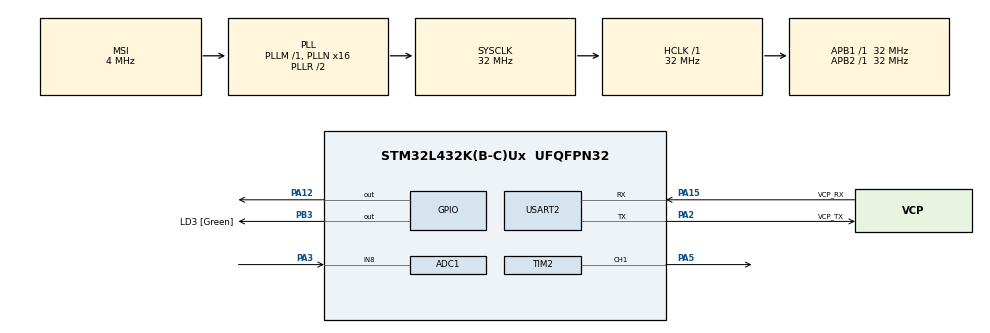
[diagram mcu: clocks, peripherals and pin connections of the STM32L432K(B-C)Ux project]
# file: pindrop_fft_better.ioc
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ADC1.Channel-0\#ChannelRegularConversion=ADC_CHANNEL_8
ADC1.ContinuousConvMode=DISABLE
ADC1.DMAContinuousRequests=ENABLE
ADC1.ExternalTrigConv=ADC_EXTERNALTRIG_T2_TRGO
ADC1.NbrOfConversionFlag=1
ADC1.OffsetNumber-0\#ChannelRegularConversion=ADC_OFFSET_NONE
ADC1.Rank-0\#ChannelRegularConversion=1
ADC1.SamplingTime-0\#ChannelRegularConversion=ADC_SAMPLETIME_2CYCLES_5
ADC1.master=1
Dma.ADC1.0.Direction=DMA_PERIPH_TO_MEMORY
Dma.ADC1.0.Instance=DMA1_Channel1
Dma.ADC1.0.MemDataAlignment=DMA_MDATAALIGN_HALFWORD
Dma.ADC1.0.MemInc=DMA_MINC_ENABLE
Dma.ADC1.0.Mode=DMA_CIRCULAR
Dma.ADC1.0.PeriphDataAlignment=DMA_PDATAALIGN_HALFWORD
Dma.ADC1.0.PeriphInc=DMA_PINC_DISABLE
Dma.ADC1.0.Priority=DMA_PRIORITY_LOW
Dma.Request0=ADC1
Dma.Request1=USART2_TX
Dma.USART2_TX.1.Direction=DMA_MEMORY_TO_PERIPH
Dma.USART2_TX.1.Instance=DMA1_Channel7
Dma.USART2_TX.1.MemDataAlignment=DMA_MDATAALIGN_BYTE
Dma.USART2_TX.1.MemInc=DMA_MINC_ENABLE
Dma.USART2_TX.1.Mode=DMA_NORMAL
Dma.USART2_TX.1.PeriphDataAlignment=DMA_PDATAALIGN_BYTE
Dma.USART2_TX.1.PeriphInc=DMA_PINC_DISABLE
Dma.USART2_TX.1.Priority=DMA_PRIORITY_LOW
Mcu.Family=STM32L4
Mcu.Name=STM32L432K(B-C)Ux
Mcu.Package=UFQFPN32
NVIC.DMA1_Channel1_IRQn=true\:0\:0\:false\:false\:true\:false\:true\:true
NVIC.DMA1_Channel7_IRQn=true\:0\:0\:false\:false\:true\:false\:true\:true
NVIC.PriorityGroup=NVIC_PRIORITYGROUP_4
NVIC.TIM1_UP_TIM16_IRQn=true\:0\:0\:false\:false\:true\:true\:true\:true
PA0.GPIO_Label=MCO [High speed clock in]
PA0.Mode=HSE-External-Clock-Source-for-LittleOrca
PA0.Signal=RCC_CK_IN
PA12.Signal=GPIO_Output
PA13\ (JTMS-SWDIO).GPIO_Label=SWDIO
PA13\ (JTMS-SWDIO).Mode=Serial_Wire
PA13\ (JTMS-SWDIO).Signal=SYS_JTMS-SWDIO
PA14\ (JTCK-SWCLK).GPIO_Label=SWCLK
PA14\ (JTCK-SWCLK).Mode=Serial_Wire
PA14\ (JTCK-SWCLK).Signal=SYS_JTCK-SWCLK
PA15\ (JTDI).GPIO_Label=VCP_RX
PA15\ (JTDI).Mode=Asynchronous
PA15\ (JTDI).Signal=USART2_RX
PA2.GPIO_Label=VCP_TX
PA2.Mode=Asynchronous
PA2.Signal=USART2_TX
PA3.Signal=ADCx_IN8
PA5.Signal=S_TIM2_CH1
PB3\ (JTDO-TRACESWO).GPIO_Label=LD3 [Green]
PB3\ (JTDO-TRACESWO).Signal=GPIO_Output
PC14-OSC32_IN\ (PC14).Mode=LSE-External-Oscillator
PC14-OSC32_IN\ (PC14).Signal=RCC_OSC32_IN
PC15-OSC32_OUT\ (PC15).Mode=LSE-External-Oscillator
PC15-OSC32_OUT\ (PC15).Signal=RCC_OSC32_OUT
ProjectManager.HeapSize=0x200
ProjectManager.StackSize=0x400
ProjectManager.TargetToolchain=STM32CubeIDE
RCC.ADCFreq_Value=32000000
RCC.AHBFreq_Value=32000000
RCC.APB1Freq_Value=32000000
RCC.APB1TimFreq_Value=32000000
RCC.APB2Freq_Value=32000000
RCC.APB2TimFreq_Value=32000000
RCC.CortexFreq_Value=32000000
RCC.HCLKFreq_Value=32000000
RCC.HSE_VALUE=8000000
RCC.HSI16_VALUE=16000000
RCC.HSI48_VALUE=48000000
RCC.HSI_VALUE=16000000
RCC.MSI_VALUE=4000000
RCC.PLLMUL=RCC_PLLMUL_4
RCC.PLLN=16
RCC.PLLSAI1N=16
RCC.SYSCLKFreq_VALUE=32000000
RCC.SYSCLKSource=RCC_SYSCLKSOURCE_PLLCLK
RCC.USBFreq_Value=32000000
RCC.VCOOutputFreq_Value=64000000
SH.ADCx_IN8.0=ADC1_IN8,IN8-Single-Ended
SH.S_TIM2_CH1.0=TIM2_CH1,Output Compare1 CH1
TIM1.Period=1000-1
TIM1.Prescaler=32000-1
TIM2.AutoReloadPreload=TIM_AUTORELOAD_PRELOAD_ENABLE
TIM2.Channel-Output\ Compare1\ CH1=TIM_CHANNEL_1
TIM2.OCMode_1=TIM_OCMODE_TOGGLE
TIM2.Period=400-1
TIM2.Prescaler=0
TIM2.TIM_MasterOutputTrigger=TIM_TRGO_UPDATE
TIM2.TIM_MasterSlaveMode=TIM_MASTERSLAVEMODE_ENABLE
USART2.VirtualMode-Asynchronous=VM_ASYNC
VP_TIM1_VS_ClockSourceINT.Mode=Internal
VP_TIM2_VS_ClockSourceINT.Mode=Internal
board=NUCLEO-L432KC

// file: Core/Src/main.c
/* USER CODE BEGIN Header */
/**
  ******************************************************************************
  * @file           : main.c
  * @brief          : Main program body
  ******************************************************************************
  * @attention
  *
  * Copyright (c) 2025 STMicroelectronics.
  * All rights reserved.
  *
  * This software is licensed under terms that can be found in the LICENSE file
  * in the root directory of this software component.
  * If no LICENSE file comes with this software, it is provided AS-IS.
  *
  ******************************************************************************
  */
/* USER CODE END Header */
#include "main.h"

/* USER CODE BEGIN Includes */
#include "arm_math.h"
#include "arm_const_structs.h"
//#include <stdio.h>
/* USER CODE END Includes */

/* USER CODE BEGIN PD */
/* Defines */
#define FFT_SIZE 1024
#define SAMPLE_RATE 80000
#define AUDIO_BUFFER_SIZE (FFT_SIZE*2)
#define CHANGE_THRESHOLD 1.7
#define TRANS_WINDOWS 6
//#define CHANGE_THRESHOLD 1.3
/* USER CODE END PD */

ADC_HandleTypeDef hadc1;
DMA_HandleTypeDef hdma_adc1;

TIM_HandleTypeDef htim1;
TIM_HandleTypeDef htim2;

UART_HandleTypeDef huart2;
DMA_HandleTypeDef hdma_usart2_tx;

/* USER CODE BEGIN PV */
volatile uint16_t adc_buffer[AUDIO_BUFFER_SIZE];
volatile int buffer_ready = 0;
int transmit_signal = 0;
uint32_t adc_index = 0;

float32_t fft_input[FFT_SIZE];
float32_t fft_output[FFT_SIZE];

float32_t fft_mag_A[FFT_SIZE/2];
float32_t fft_mag_B[FFT_SIZE/2];
float32_t* fft_mag = fft_mag_A;
float32_t* fft_mag_prev = fft_mag_B;

uint32_t trans_arr[FFT_SIZE*TRANS_WINDOWS];

arm_rfft_fast_instance_f32 fft_instance;
/* USER CODE END PV */

void SystemClock_Config(void);
static void MX_GPIO_Init(void);
static void MX_DMA_Init(void);
static void MX_USART2_UART_Init(void);
static void MX_ADC1_Init(void);
static void MX_TIM2_Init(void);
static void MX_TIM1_Init(void);
/* USER CODE BEGIN PFP */
void HAL_ADC_ConvCpltCallback(ADC_HandleTypeDef* hadc);
void HAL_ADC_ConvHalfCpltCallback(ADC_HandleTypeDef* hadc);
void process_fft(int);
void transmit_adc_data(void);
/* USER CODE END PFP */

int main(void)
{

  /* MCU Configuration--------------------------------------------------------*/

  /* Reset of all peripherals, Initializes the Flash interface and the Systick. */
  HAL_Init();

  /* Configure the system clock */
  SystemClock_Config();

  /* Initialize all configured peripherals */
  MX_GPIO_Init();
  MX_DMA_Init();
  MX_USART2_UART_Init();
  MX_ADC1_Init();
  MX_TIM2_Init();
  MX_TIM1_Init();
  /* USER CODE BEGIN 2 */
  // Initialize FFT
  arm_rfft_fast_init_f32(&fft_instance, FFT_SIZE);

  // Start ADC with DMA
  HAL_ADC_Start_DMA(&hadc1, (uint32_t*)adc_buffer, AUDIO_BUFFER_SIZE);

  // Start timer for sampling rate and fft timer
  HAL_TIM_Base_Start(&htim1);
  HAL_TIM_Base_Start(&htim2);
  /* USER CODE END 2 */

  /* Infinite loop */
  /* USER CODE BEGIN WHILE */
  while (1)
  {
	  if (buffer_ready) {
	        process_fft(buffer_ready);
	        buffer_ready = 0;
	        //adc_index = 0;
	    }
    /* USER CODE END WHILE */

  }
}

void SystemClock_Config(void)
{
  RCC_OscInitTypeDef RCC_OscInitStruct = {0};
  RCC_ClkInitTypeDef RCC_ClkInitStruct = {0};

  /** Configure the main internal regulator output voltage
  */
  if (HAL_PWREx_ControlVoltageScaling(PWR_REGULATOR_VOLTAGE_SCALE1) != HAL_OK)
  {
    Error_Handler();
  }

  /** Configure LSE Drive Capability
  */
  HAL_PWR_EnableBkUpAccess();
  __HAL_RCC_LSEDRIVE_CONFIG(RCC_LSEDRIVE_LOW);

  /** Initializes the RCC Oscillators according to the specified parameters
  * in the RCC_OscInitTypeDef structure.
  */
  RCC_OscInitStruct.OscillatorType = RCC_OSCILLATORTYPE_LSE|RCC_OSCILLATORTYPE_MSI;
  RCC_OscInitStruct.LSEState = RCC_LSE_ON;
  RCC_OscInitStruct.MSIState = RCC_MSI_ON;
  RCC_OscInitStruct.MSICalibrationValue = 0;
  RCC_OscInitStruct.MSIClockRange = RCC_MSIRANGE_6;
  RCC_OscInitStruct.PLL.PLLState = RCC_PLL_ON;
  RCC_OscInitStruct.PLL.PLLSource = RCC_PLLSOURCE_MSI;
  RCC_OscInitStruct.PLL.PLLM = 1;
  RCC_OscInitStruct.PLL.PLLN = 16;
  RCC_OscInitStruct.PLL.PLLP = RCC_PLLP_DIV7;
  RCC_OscInitStruct.PLL.PLLQ = RCC_PLLQ_DIV2;
  RCC_OscInitStruct.PLL.PLLR = RCC_PLLR_DIV2;
  if (HAL_RCC_OscConfig(&RCC_OscInitStruct) != HAL_OK)
  {
    Error_Handler();
  }

  /** Initializes the CPU, AHB and APB buses clocks
  */
  RCC_ClkInitStruct.ClockType = RCC_CLOCKTYPE_HCLK|RCC_CLOCKTYPE_SYSCLK
                              |RCC_CLOCKTYPE_PCLK1|RCC_CLOCKTYPE_PCLK2;
  RCC_ClkInitStruct.SYSCLKSource = RCC_SYSCLKSOURCE_PLLCLK;
  RCC_ClkInitStruct.AHBCLKDivider = RCC_SYSCLK_DIV1;
  RCC_ClkInitStruct.APB1CLKDivider = RCC_HCLK_DIV1;
  RCC_ClkInitStruct.APB2CLKDivider = RCC_HCLK_DIV1;

  if (HAL_RCC_ClockConfig(&RCC_ClkInitStruct, FLASH_LATENCY_1) != HAL_OK)
  {
    Error_Handler();
  }

  /** Enable MSI Auto calibration
  */
  HAL_RCCEx_EnableMSIPLLMode();
}

static void MX_ADC1_Init(void)
{

  ADC_ChannelConfTypeDef sConfig = {0};

  /** Common config
  */
  hadc1.Instance = ADC1;
  hadc1.Init.ClockPrescaler = ADC_CLOCK_ASYNC_DIV1;
  hadc1.Init.Resolution = ADC_RESOLUTION_12B;
  hadc1.Init.DataAlign = ADC_DATAALIGN_RIGHT;
  hadc1.Init.ScanConvMode = ADC_SCAN_DISABLE;
  hadc1.Init.EOCSelection = ADC_EOC_SINGLE_CONV;
  hadc1.Init.LowPowerAutoWait = DISABLE;
  hadc1.Init.ContinuousConvMode = DISABLE;
  hadc1.Init.NbrOfConversion = 1;
  hadc1.Init.DiscontinuousConvMode = DISABLE;
  hadc1.Init.ExternalTrigConv = ADC_EXTERNALTRIG_T2_TRGO;
  hadc1.Init.ExternalTrigConvEdge = ADC_EXTERNALTRIGCONVEDGE_RISING;
  hadc1.Init.DMAContinuousRequests = ENABLE;
  hadc1.Init.Overrun = ADC_OVR_DATA_PRESERVED;
  hadc1.Init.OversamplingMode = DISABLE;
  if (HAL_ADC_Init(&hadc1) != HAL_OK)
  {
    Error_Handler();
  }

  /** Configure Regular Channel
  */
  sConfig.Channel = ADC_CHANNEL_8;
  sConfig.Rank = ADC_REGULAR_RANK_1;
  sConfig.SamplingTime = ADC_SAMPLETIME_2CYCLES_5;
  sConfig.SingleDiff = ADC_SINGLE_ENDED;
  sConfig.OffsetNumber = ADC_OFFSET_NONE;
  sConfig.Offset = 0;
  if (HAL_ADC_ConfigChannel(&hadc1, &sConfig) != HAL_OK)
  {
    Error_Handler();
  }

}

static void MX_TIM1_Init(void)
{

  TIM_ClockConfigTypeDef sClockSourceConfig = {0};
  TIM_MasterConfigTypeDef sMasterConfig = {0};

  htim1.Instance = TIM1;
  htim1.Init.Prescaler = 32000-1;
  htim1.Init.CounterMode = TIM_COUNTERMODE_UP;
  htim1.Init.Period = 1000-1;
  htim1.Init.ClockDivision = TIM_CLOCKDIVISION_DIV1;
  htim1.Init.RepetitionCounter = 0;
  htim1.Init.AutoReloadPreload = TIM_AUTORELOAD_PRELOAD_DISABLE;
  if (HAL_TIM_Base_Init(&htim1) != HAL_OK)
  {
    Error_Handler();
  }
  sClockSourceConfig.ClockSource = TIM_CLOCKSOURCE_INTERNAL;
  if (HAL_TIM_ConfigClockSource(&htim1, &sClockSourceConfig) != HAL_OK)
  {
    Error_Handler();
  }
  sMasterConfig.MasterOutputTrigger = TIM_TRGO_RESET;
  sMasterConfig.MasterOutputTrigger2 = TIM_TRGO2_RESET;
  sMasterConfig.MasterSlaveMode = TIM_MASTERSLAVEMODE_DISABLE;
  if (HAL_TIMEx_MasterConfigSynchronization(&htim1, &sMasterConfig) != HAL_OK)
  {
    Error_Handler();
  }

}

static void MX_TIM2_Init(void)
{

  TIM_ClockConfigTypeDef sClockSourceConfig = {0};
  TIM_MasterConfigTypeDef sMasterConfig = {0};
  TIM_OC_InitTypeDef sConfigOC = {0};

  htim2.Instance = TIM2;
  htim2.Init.Prescaler = 0;
  htim2.Init.CounterMode = TIM_COUNTERMODE_UP;
  htim2.Init.Period = 400-1;
  htim2.Init.ClockDivision = TIM_CLOCKDIVISION_DIV1;
  htim2.Init.AutoReloadPreload = TIM_AUTORELOAD_PRELOAD_ENABLE;
  if (HAL_TIM_Base_Init(&htim2) != HAL_OK)
  {
    Error_Handler();
  }
  sClockSourceConfig.ClockSource = TIM_CLOCKSOURCE_INTERNAL;
  if (HAL_TIM_ConfigClockSource(&htim2, &sClockSourceConfig) != HAL_OK)
  {
    Error_Handler();
  }
  if (HAL_TIM_OC_Init(&htim2) != HAL_OK)
  {
    Error_Handler();
  }
  sMasterConfig.MasterOutputTrigger = TIM_TRGO_UPDATE;
  sMasterConfig.MasterSlaveMode = TIM_MASTERSLAVEMODE_ENABLE;
  if (HAL_TIMEx_MasterConfigSynchronization(&htim2, &sMasterConfig) != HAL_OK)
  {
    Error_Handler();
  }
  sConfigOC.OCMode = TIM_OCMODE_TOGGLE;
  sConfigOC.Pulse = 0;
  sConfigOC.OCPolarity = TIM_OCPOLARITY_HIGH;
  sConfigOC.OCFastMode = TIM_OCFAST_DISABLE;
  if (HAL_TIM_OC_ConfigChannel(&htim2, &sConfigOC, TIM_CHANNEL_1) != HAL_OK)
  {
    Error_Handler();
  }
  HAL_TIM_MspPostInit(&htim2);

}

static void MX_USART2_UART_Init(void)
{

  huart2.Instance = USART2;
  huart2.Init.BaudRate = 115200;
  huart2.Init.WordLength = UART_WORDLENGTH_8B;
  huart2.Init.StopBits = UART_STOPBITS_1;
  huart2.Init.Parity = UART_PARITY_NONE;
  huart2.Init.Mode = UART_MODE_TX_RX;
  huart2.Init.HwFlowCtl = UART_HWCONTROL_NONE;
  huart2.Init.OverSampling = UART_OVERSAMPLING_16;
  huart2.Init.OneBitSampling = UART_ONE_BIT_SAMPLE_DISABLE;
  huart2.AdvancedInit.AdvFeatureInit = UART_ADVFEATURE_NO_INIT;
  if (HAL_UART_Init(&huart2) != HAL_OK)
  {
    Error_Handler();
  }

}

static void MX_DMA_Init(void)
{

  /* DMA controller clock enable */
  __HAL_RCC_DMA1_CLK_ENABLE();

  /* DMA interrupt init */
  /* DMA1_Channel1_IRQn interrupt configuration */
  HAL_NVIC_SetPriority(DMA1_Channel1_IRQn, 0, 0);
  HAL_NVIC_EnableIRQ(DMA1_Channel1_IRQn);
  /* DMA1_Channel7_IRQn interrupt configuration */
  HAL_NVIC_SetPriority(DMA1_Channel7_IRQn, 0, 0);
  HAL_NVIC_EnableIRQ(DMA1_Channel7_IRQn);

}

static void MX_GPIO_Init(void)
{
  GPIO_InitTypeDef GPIO_InitStruct = {0};

  /* GPIO Ports Clock Enable */
  __HAL_RCC_GPIOC_CLK_ENABLE();
  __HAL_RCC_GPIOA_CLK_ENABLE();
  __HAL_RCC_GPIOB_CLK_ENABLE();

  /*Configure GPIO pin Output Level */
  HAL_GPIO_WritePin(GPIOA, GPIO_PIN_12, GPIO_PIN_RESET);

  /*Configure GPIO pin Output Level */
  HAL_GPIO_WritePin(LD3_GPIO_Port, LD3_Pin, GPIO_PIN_RESET);

  /*Configure GPIO pin : PA12 */
  GPIO_InitStruct.Pin = GPIO_PIN_12;
  GPIO_InitStruct.Mode = GPIO_MODE_OUTPUT_PP;
  GPIO_InitStruct.Pull = GPIO_NOPULL;
  GPIO_InitStruct.Speed = GPIO_SPEED_FREQ_LOW;
  HAL_GPIO_Init(GPIOA, &GPIO_InitStruct);

  /*Configure GPIO pin : LD3_Pin */
  GPIO_InitStruct.Pin = LD3_Pin;
  GPIO_InitStruct.Mode = GPIO_MODE_OUTPUT_PP;
  GPIO_InitStruct.Pull = GPIO_NOPULL;
  GPIO_InitStruct.Speed = GPIO_SPEED_FREQ_LOW;
  HAL_GPIO_Init(LD3_GPIO_Port, &GPIO_InitStruct);

}

/* USER CODE BEGIN 4 */
/* ADC conversion complete callback */
void HAL_ADC_ConvHalfCpltCallback(ADC_HandleTypeDef* hadc) {
  buffer_ready = 1;
  // If event detected add buffer to transmit window
  if (transmit_signal) {
	  // If event was just detected, also add the previous samples (front half) to the transmission
	  if (transmit_signal == TRANS_WINDOWS) {
		  for (int i = 0; i < FFT_SIZE; i++) {
			  trans_arr[i] = adc_buffer[i+FFT_SIZE];
		  }
		  transmit_signal--; // Decrement Counter
	  }
	  // Add buffer just filled
	  for (int i = 0; i < FFT_SIZE; i++) {
		  trans_arr[i+(TRANS_WINDOWS-transmit_signal)*FFT_SIZE] = adc_buffer[i];
	  }
	  transmit_signal--; // Decrement Counter
	  // If counter now 0 then transmit
	  if (transmit_signal <= 0) {
		  transmit_adc_data();
	  	  }
	  }
  }
void HAL_ADC_ConvCpltCallback(ADC_HandleTypeDef* hadc) {
  buffer_ready = 2;
  // If event detected add buffer to transmit window
   if (transmit_signal) {
 	  // If event was just detected, also add the previous samples (front half) to the transmission
 	  if (transmit_signal == TRANS_WINDOWS) {
 		  for (int i = 0; i < FFT_SIZE; i++) {
 			  trans_arr[i] = adc_buffer[i];
 		  }
 		  transmit_signal--; // Decrement Counter
 	  }
 	  // Add buffer just filled
 	  for (int i = 0; i < FFT_SIZE; i++) {
 		  trans_arr[i+(TRANS_WINDOWS-transmit_signal)*FFT_SIZE] = adc_buffer[i+FFT_SIZE];
 	  }
 	  transmit_signal--; // Decrement Counter
 	  // If counter now 0 then transmit
 	  if (transmit_signal <= 0) {
 		  transmit_adc_data();
 	  }
 	}
}

// Global variables
volatile uint8_t led_blink_active = 0;  // Blink state flag

// Function to trigger a single blink (1s on, then off)
void Trigger_Single_Blink(void) {
  HAL_GPIO_WritePin(GPIOA, GPIO_PIN_12, GPIO_PIN_SET);  // Turn LED on
  led_blink_active = 1;  // Enable blink tracking
  HAL_TIM_Base_Start_IT(&htim1);  // Start TIM1 interrupt
}

// TIM1 interrupt callback
void HAL_TIM_PeriodElapsedCallback(TIM_HandleTypeDef *htim) {
  if (htim->Instance == TIM1 && led_blink_active) {
    HAL_GPIO_WritePin(GPIOA, GPIO_PIN_12, GPIO_PIN_RESET);  // Turn LED off
    led_blink_active = 0;  // Reset flag
    HAL_TIM_Base_Stop_IT(&htim1);  // Stop timer
  }
}

// Code to swap output buffers
void swap_buffers() {
    float32_t* temp = fft_mag_prev;
    fft_mag_prev = fft_mag;
    fft_mag = temp;
}

/* Process FFT */
void process_fft(int buffer_ready) {
  // Convert ADC samples to float32 (-1 to 1)
  for (int i = 0; i < FFT_SIZE; i++) {
    fft_input[i] = (float32_t)(adc_buffer[i+(buffer_ready-1)*FFT_SIZE] - 2048) / 2048.0f;
  }
  // Calculate and remove mean
  float32_t mean;
  arm_mean_f32(fft_input, FFT_SIZE, &mean);
  arm_offset_f32(fft_input, -mean, fft_input, FFT_SIZE);

  // Get time since last fft
  //uint32_t time = __HAL_TIM_GET_COUNTER(&htim1)*0.001; // Time in ms
  //__HAL_TIM_SET_COUNTER(&htim1, 0);
  // Perform FFT
  arm_rfft_fast_f32(&fft_instance, fft_input, fft_output, 0);

  // Swap pointers to magnitudes to find difference between current and previous fft
  swap_buffers();
  float32_t fft_mag_diffsqr_sum = 0;
  // Calculate magnitude and find difference from previous
  for (int i = 0; i < FFT_SIZE/2; i++) {
    fft_mag[i] = sqrtf(fft_output[2*i]*fft_output[2*i] +
                       fft_output[2*i+1]*fft_output[2*i+1]);
    fft_mag_diffsqr_sum += (fft_mag[i] - fft_mag_prev[i])*(fft_mag[i] - fft_mag_prev[i]);
  }

  float32_t fft_change = sqrtf(fft_mag_diffsqr_sum);

  if (fft_change > CHANGE_THRESHOLD) {
	  // Turn ON the LED
	  HAL_GPIO_WritePin(GPIOA, GPIO_PIN_12, GPIO_PIN_SET);
	  transmit_signal = TRANS_WINDOWS;
	  HAL_Delay(200);
  }
//  if (time > 25000) {
//	  HAL_GPIO_WritePin(GPIOA, GPIO_PIN_12, GPIO_PIN_SET);
//	  HAL_Delay(1000);
//	  __HAL_TIM_SET_COUNTER(&htim1, 0);
//  }
  else {
	  HAL_GPIO_WritePin(GPIOA, GPIO_PIN_12, GPIO_PIN_RESET);
	   transmit_signal = 0;
  }
}

/* Transmit ADC time series data via UART */
void transmit_adc_data(void) {
  char uart_buf[64];
  int len;

  // Send header with sample count
  len = sprintf(uart_buf, "ADC_DATA_START,%d\r\n", FFT_SIZE*TRANS_WINDOWS);
  HAL_UART_Transmit(&huart2, (uint8_t*)uart_buf, len, HAL_MAX_DELAY);

  // Send ADC data points
  for (int i = 0; i < FFT_SIZE*TRANS_WINDOWS; i++) {
    len = sprintf(uart_buf, "%d,%d\r\n", i, trans_arr[i]);
    HAL_UART_Transmit(&huart2, (uint8_t*)uart_buf, len, HAL_MAX_DELAY);
  }

  // Send footer
  len = sprintf(uart_buf, "ADC_DATA_END\r\n");
  HAL_UART_Transmit(&huart2, (uint8_t*)uart_buf, len, HAL_MAX_DELAY);
}

/* Transmit FFT results via UART */
//void transmit_fft_results(void) {
//  #define UART_BUF_SIZE 128  // Increased buffer size
//  char uart_buf[UART_BUF_SIZE];
//  int len;
//  HAL_StatusTypeDef status;
//  const int fft_points = FFT_SIZE/2;
//
//  // Send header with fixed format
//  len = snprintf(uart_buf, UART_BUF_SIZE, "FFT_DATA_START,%d\r\n", fft_points);
//  status = HAL_UART_Transmit(&huart2, (uint8_t*)uart_buf, len, HAL_MAX_DELAY);
//  if (status != HAL_OK) {
//    // Handle error (you could add error recovery here)
//    return;
//  }
//
//  // Send FFT magnitude points with checks
//  int points_sent = 0;
//  for (int i = 0; i < fft_points; i++) {
//    len = snprintf(uart_buf, UART_BUF_SIZE, "%d,%.4f\r\n", i, fft_mag[i]);
//    if (len >= UART_BUF_SIZE) {
//      // Handle buffer overflow
//      len = snprintf(uart_buf, UART_BUF_SIZE, "%d,OVF\r\n", i);
//    }
//
//    status = HAL_UART_Transmit(&huart2, (uint8_t*)uart_buf, len, HAL_MAX_DELAY);
//    if (status != HAL_OK) {
//      // Handle error
//      break;
//    }
//    points_sent++;
//  }
//
//  // Verify all points were sent
//  if (points_sent != fft_points) {
//    len = snprintf(uart_buf, UART_BUF_SIZE, "FFT_ERROR,expected %d, sent %d\r\n",
//                  fft_points, points_sent);
//    HAL_UART_Transmit(&huart2, (uint8_t*)uart_buf, len, HAL_MAX_DELAY);
//  }
//
//  // Send footer
//  len = snprintf(uart_buf, UART_BUF_SIZE, "FFT_DATA_END,%d\r\n", points_sent);
//  HAL_UART_Transmit(&huart2, (uint8_t*)uart_buf, len, HAL_MAX_DELAY);
//}
/* USER CODE END 4 */

void Error_Handler(void)
{
  __disable_irq();
  while (1)
  {
  }
}
